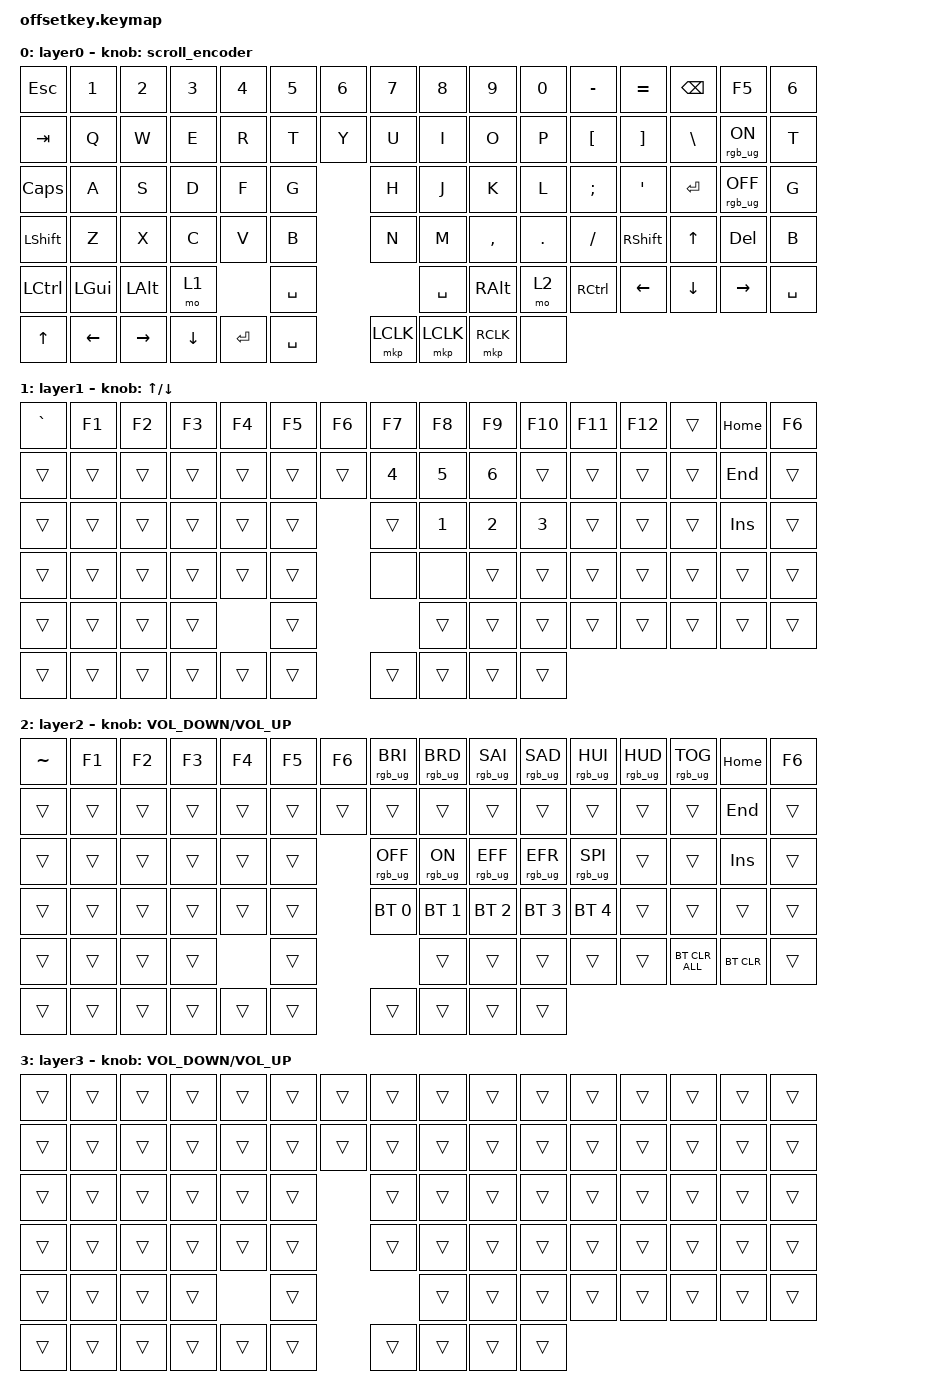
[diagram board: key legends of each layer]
#define BASE 0
#define LOWER 1
#define MOUSE_KEYS 2
#define MOUSE_TP 3
#define MOUSE_TP_SET 4

#include <zephyr/dt-bindings/input/input-event-codes.h>
#include <behaviors/toggle_io.dtsi>
#include <behaviors/on_io.dtsi>
#include <behaviors/off_io.dtsi>
#include <behaviors.dtsi>
#include <dt-bindings/zmk/bt.h>
#include <dt-bindings/zmk/keys.h>

// Increase scroll value for encoder scroll to work properly
#define ZMK_POINTING_DEFAULT_SCRL_VAL 140

#include <dt-bindings/zmk/pointing.h>
#include <dt-bindings/zmk/rgb.h>

/ {
    behaviors {
        ltq: ltq {
            compatible = "zmk,behavior-hold-tap";
            label = "LTQ";
            bindings = <&mo>, <&kp>;

            #binding-cells = <2>;
            tapping-term-ms = <200>;
            quick-tap-ms = <180>;
        };

        scroll_encoder: scroll_encoder {
            compatible = "zmk,behavior-sensor-rotate";
            #sensor-binding-cells = <0>;
            bindings = <&msc SCRL_UP>, <&msc SCRL_DOWN>;
            tap-ms = <20>;
        };
    };

    combos {
        compatible = "zmk,combos";

        flash {
            bindings = <&bootloader>;
            key-positions = <0 11>;
        };
    };

   keymap {
        compatible = "zmk,keymap";

        BASE {
            bindings = <
&kp ESC       &kp N1          &kp N2           &kp N3          &kp N4     &kp N5     &kp N6      &kp N7     &kp N8     &kp N9         &kp N0   &kp MINUS  &kp EQUAL  &kp BSPC      &kp F5                           &kp NUMBER_6
&kp TAB       &kp Q           &kp W            &kp E           &kp R      &kp T                  &kp Y      &kp U      &kp I          &kp O    &kp P      &kp LBKT   &kp RBKT      &kp BSLH         &rgb_ug RGB_ON  &kp T
&kp CAPS      &kp A           &kp S            &kp D           &kp F      &kp G                  &kp H      &kp J      &kp K          &kp L    &kp SEMI   &kp APOS   &kp ENTER     &rgb_ug RGB_OFF                  &kp G
&kp LSHFT     &kp Z           &kp X            &kp C           &kp V      &kp B                  &kp N      &kp M      &kp COMMA      &kp DOT  &kp FSLH   &kp RSHFT  &kp UP_ARROW  &kp DELETE                       &kp B
&kp LCTRL     &kp LEFT_GUI    &kp LEFT_ALT     &mo 1                      &kp SPACE                         &kp SPACE  &kp RIGHT_ALT  &mo 2    &kp RCTRL  &kp LEFT   &kp DOWN      &kp RIGHT                        &kp SPACE
&kp UP_ARROW  &kp LEFT_ARROW  &kp RIGHT_ARROW  &kp DOWN_ARROW  &kp ENTER  &kp SPACE              &mkp LCLK  &mkp LCLK  &mkp RCLK      &none
            >;

            label = "layer0";
            sensor-bindings = <&scroll_encoder>;
        };

        layer_1 {
            bindings = <
&kp GRAVE  &kp F1  &kp F2  &kp F3  &kp F4  &kp F5  &kp F6      &kp F7  &kp F8        &kp F9        &kp F10       &kp F11  &kp F12  &trans  &kp HOME             &kp F6
&trans     &trans  &trans  &trans  &trans  &trans              &trans  &kp NUMBER_4  &kp NUMBER_5  &kp NUMBER_6  &trans   &trans   &trans  &trans      &kp END  &trans
&trans     &trans  &trans  &trans  &trans  &trans              &trans  &kp NUMBER_1  &kp NUMBER_2  &kp NUMBER_3  &trans   &trans   &trans  &kp INSERT           &trans
&trans     &trans  &trans  &trans  &trans  &trans              &none   &none         &trans        &trans        &trans   &trans   &trans  &trans               &trans
&trans     &trans  &trans  &trans          &trans                      &trans        &trans        &trans        &trans   &trans   &trans  &trans               &trans
&trans     &trans  &trans  &trans  &trans  &trans              &trans  &trans        &trans        &trans
            >;
          label = "layer1";
            sensor-bindings = <&inc_dec_kp UP_ARROW DOWN_ARROW>;
        };

        layer_2 {
            bindings = <
&kp TILDE  &kp F1  &kp F2  &kp F3  &kp F4  &kp F5  &kp F6      &rgb_ug RGB_BRI  &rgb_ug RGB_BRD  &rgb_ug RGB_SAI  &rgb_ug RGB_SAD  &rgb_ug RGB_HUI  &rgb_ug RGB_HUD  &rgb_ug RGB_TOG  &kp HOME             &kp F6
&trans     &trans  &trans  &trans  &trans  &trans              &trans           &trans          &trans           &trans           &trans           &trans   &trans          &trans      &kp END  &trans
&trans     &trans  &trans  &trans  &trans  &trans              &rgb_ug RGB_OFF  &rgb_ug RGB_ON  &rgb_ug RGB_EFF  &rgb_ug RGB_EFR  &rgb_ug RGB_SPI  &trans   &trans          &kp INSERT           &trans
&trans     &trans  &trans  &trans  &trans  &trans              &bt BT_SEL 0     &bt BT_SEL 1    &bt BT_SEL 2     &bt BT_SEL 3     &bt BT_SEL 4     &trans   &trans          &trans               &trans
&trans     &trans  &trans  &trans          &trans                               &trans          &trans           &trans           &trans           &trans   &bt BT_CLR_ALL  &bt BT_CLR           &trans
&trans     &trans  &trans  &trans  &trans  &trans              &trans           &trans          &trans           &trans
            >;
    label = "layer2";
            sensor-bindings = <&inc_dec_kp C_VOLUME_DOWN C_VOLUME_UP>;
        };

        layer_3 {
            bindings = <
&trans  &trans  &trans  &trans  &trans  &trans  &trans      &trans  &trans  &trans  &trans  &trans  &trans  &trans  &trans          &trans
&trans  &trans  &trans  &trans  &trans  &trans              &trans  &trans  &trans  &trans  &trans  &trans  &trans  &trans  &trans  &trans
&trans  &trans  &trans  &trans  &trans  &trans              &trans  &trans  &trans  &trans  &trans  &trans  &trans  &trans          &trans
&trans  &trans  &trans  &trans  &trans  &trans              &trans  &trans  &trans  &trans  &trans  &trans  &trans  &trans          &trans
&trans  &trans  &trans  &trans          &trans                      &trans  &trans  &trans  &trans  &trans  &trans  &trans          &trans
&trans  &trans  &trans  &trans  &trans  &trans              &trans  &trans  &trans  &trans
            >;
  label = "layer3";
            sensor-bindings = <&inc_dec_kp C_VOLUME_DOWN C_VOLUME_UP>;
        };
    };
};
